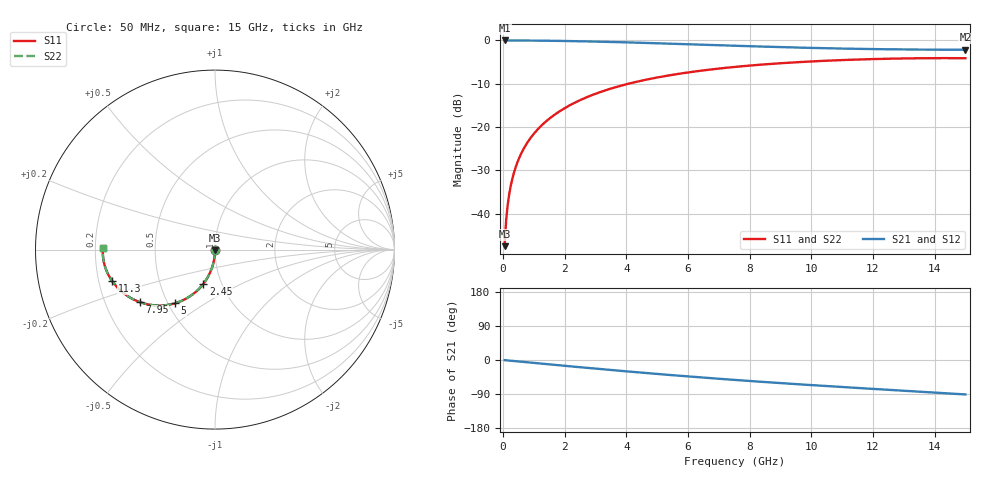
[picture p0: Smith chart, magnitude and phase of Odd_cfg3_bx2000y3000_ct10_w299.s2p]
! Sonnet Data File
! From: emgraph Version : 16.52
! From Emgraph Data: Waveguide2
! Data File Written: 09/24/2017 12:30:58
!< HDATE 09/24/2017 12:12:58
!< MDATE 09/24/2017 12:12:58
# GHZ S MA R 50.00000
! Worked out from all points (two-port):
!   300 points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, 50 MHz to 15 GHz, reference 50 ohm
!   highest |S21| = 0.00 dB at 50 MHz (marker M1); lowest = -2.1 dB at 15 GHz (marker M2)
!   |S21| within 3 dB of the highest: start of sweep to end of sweep
!   lowest |S11| = -47.5 dB at 50 MHz (marker M3), VSWR 1.01, Z = 50 - j0.423 ohm
!   |S11| at or under -10 dB: start of sweep to 4.06 GHz
!   |S22| runs from -47.5 to -4.1 dB; largest |S21 - S12| = 0
!   S11 on the Smith chart (normalised r, x): 50 MHz: 1.00, -0.01; 2.45 GHz: 0.82, -0.33; 5 GHz: 0.54, -0.38; 7.95 GHz: 0.35, -0.28; 11.3 GHz: 0.26, -0.14; 15 GHz: 0.23, +0.01
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0.05  0.004227 -90.4  1 -0.4  1 -0.4  0.004227 -90.4
!< P1 F=0.05 Eeff=(6.36474385 -2.8453e-5) Z0=(24.0624684 5.51443e-5) R=0.08403212 C=0.17193955
!< P2 F=0.05 Eeff=(6.36474385 -2.8453e-5) Z0=(24.0624684 5.51443e-5) R=0.08403212 C=0.17193955
0.1  0.008435 -90.7  0.9999 -0.8  0.9999 -0.8  0.008436 -90.7
0.15  0.01265 -91.0  0.9999 -1.2  0.9999 -1.2  0.01265 -91.0
0.2  0.01686 -91.4  0.9998 -1.6  0.9998 -1.6  0.01686 -91.4
0.25  0.02107 -91.8  0.9997 -1.9  0.9997 -1.9  0.02107 -91.8
0.35  0.0295 -92.6  0.9995 -2.7  0.9995 -2.7  0.0295 -92.6
0.45  0.03792 -93.4  0.9992 -3.5  0.9992 -3.5  0.03792 -93.4
0.6  0.05053 -94.6  0.9987 -4.7  0.9987 -4.7  0.05053 -94.6
0.9  0.07561 -97.0  0.9972 -7.0  0.9972 -7.0  0.07561 -97.0
1.3  0.1087 -100.1  0.9941 -10.0  0.9941 -10.0  0.1087 -100.1
1.8  0.1494 -103.8  0.9887 -13.8  0.9887 -13.8  0.1494 -103.8
2.45  0.2009 -108.7  0.9795 -18.7  0.9795 -18.7  0.2009 -108.7
2.55  0.2086 -109.4  0.9779 -19.4  0.9779 -19.4  0.2086 -109.4
3.65  0.2888 -117.5  0.958 -27.4  0.958 -27.4  0.2889 -117.5
5  0.3737 -126.8  0.9279 -36.8  0.9279 -36.8  0.3737 -126.8
5.05  0.3766 -127.2  0.9267 -37.1  0.9267 -37.1  0.3766 -127.2
7.55  0.4962 -142.8  0.868 -52.8  0.868 -52.8  0.4962 -142.8
7.95  0.5112 -145.1  0.8594 -55.1  0.8594 -55.1  0.5112 -145.1
10.05  0.5737 -156.5  0.8196 -66.5  0.8196 -66.5  0.5738 -156.5
11.3  0.5991 -162.9  0.8024 -72.8  0.8024 -72.8  0.5992 -162.9
12.55  0.6161 -169.0  0.7905 -78.9  0.7905 -78.9  0.6162 -169.1
15  0.6241 179.1  0.7814 -90.9  0.7814 -90.9  0.6241 179.1
